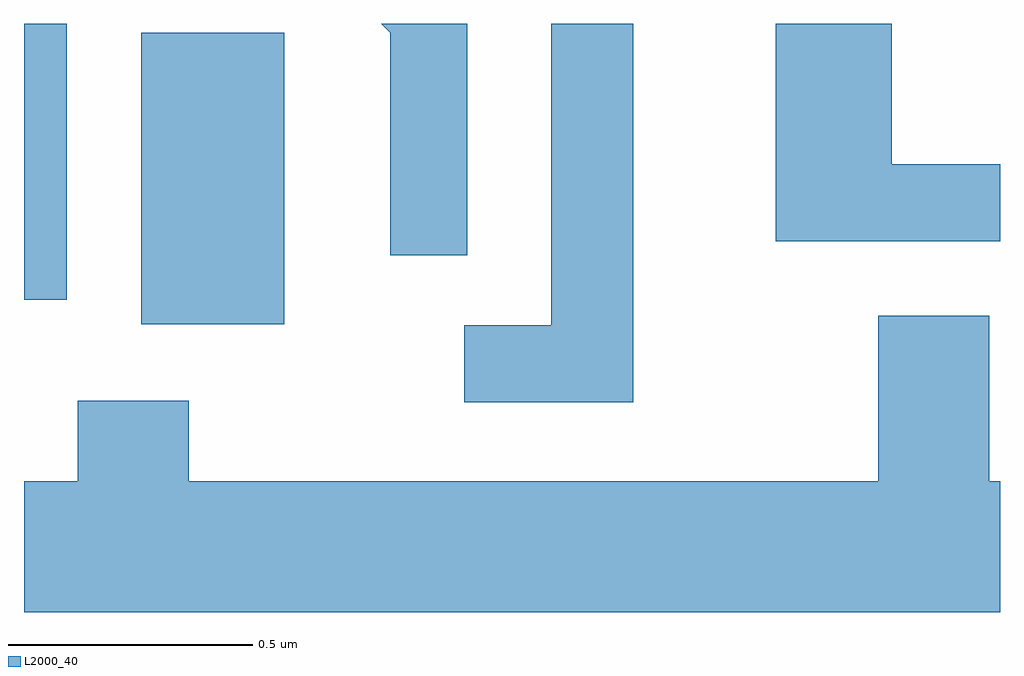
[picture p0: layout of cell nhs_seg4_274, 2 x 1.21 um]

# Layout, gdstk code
import gdstk
lib = gdstk.Library(unit=1e-6, precision=1e-09)
def R(c, l, rs):  # rectangles x0, y0, x1, y1
    for r in rs: c.add(gdstk.rectangle(r[:2], r[2:], *l))
def P(c, l, *ps):  # polygons
    for p in ps: c.add(gdstk.Polygon(p, *l))
L2000_40 = (2000, 40)

nhs_seg4_274 = lib.new_cell('nhs_seg4_274')
R(nhs_seg4_274, L2000_40, [(187.851,1255.366,188.144,1255.964), (187.611,1255.416,187.699,1255.982)])
P(nhs_seg4_274, L2000_40, [(189.611,1255.694),(189.389,1255.694),(189.389,1255.982),(189.151,1255.982),(189.151,1255.536),(189.611,1255.536)],
  [(188.519,1255.982),(188.343,1255.982),(188.361,1255.964),(188.361,1255.508),(188.519,1255.508)],
  [(188.859,1255.982),(188.691,1255.982),(188.691,1255.364),(188.513,1255.364),(188.513,1255.206),(188.859,1255.206)],
  [(189.611,1255.044),(189.589,1255.044),(189.589,1255.384),(189.361,1255.384),(189.361,1255.044),(187.949,1255.044),(187.949,1255.209),(187.721,1255.209),(187.721,1255.044),(187.611,1255.044),(187.611,1254.776),(189.611,1254.776)])

lib.write_gds('nhs_seg4_274.gds')
